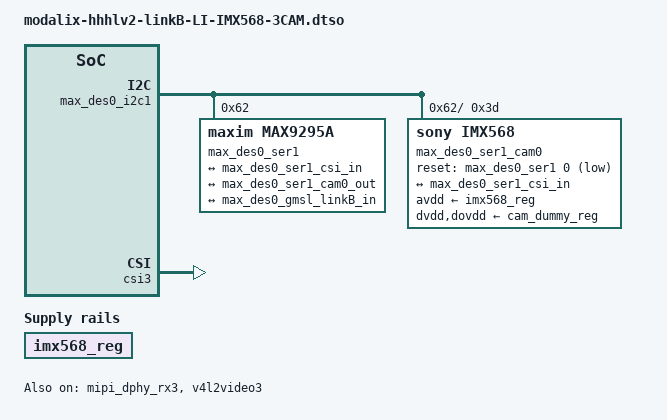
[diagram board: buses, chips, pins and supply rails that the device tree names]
// SPDX-License-Identifier: (GPL-2.0+ OR MIT)
/*
 * Copyright (c) 2026 SiMa ai
 */

/dts-v1/;
/plugin/;

#include "modalix-gmsl.dtsi"

&{/} {
    imx568_clk: imx568_clk {
        status = "okay";
        compatible = "fixed-clock";
        #clock-cells = <0>;
        clock-frequency = <25000000>;
    };
    imx568_reg: imx568_reg {
        status = "okay";
        enable-active-high;
        regulator-name = "imx568_reg";
        startup-delay-us = <20000>;
        compatible = "regulator-fixed";
    };
};

&max_des0_i2c1 {
    max_des0_ser1: gmsl-serializer@62 {
        #address-cells = <1>;
        #size-cells = <0>;
        #gpio-cells = <2>;

        compatible = "maxim,max9295a";
        reg = <0x62>;

        gpio-controller;
        gpio-ranges = <&max_des0_ser1 0 0 11>;

        i2c-alias-pool = <0x48 0x49>;
        i2c-atr {
            #address-cells = <1>;
            #size-cells = <0>;

            max_des0_ser1_i2c0: i2c@0 {
                #address-cells = <1>;
                #size-cells = <0>;
                reg = <0x0>;
            };
        };

        ports {
            #address-cells = <1>;
            #size-cells = <0>;

            port@0 {
                reg = <0>;
                max_des0_ser1_csi_in: endpoint@0 {
                    reg = <0>;
                };
            };
            port@1 {
                reg = <1>;
                max_des0_ser1_gmsl_out: endpoint@0 {
                    reg = <0>;
                };
            };
        };
    };
};

&max_des0_ser1_i2c0 {
    max_des0_ser1_cam0: imx568@3d {
        compatible = "sony,imx568";
        reg = <0x3d>;
        reset-gpios = <&max_des0_ser1 0 1>;

        clocks = <&imx568_clk>;
        clock-names = "inck";

        avdd-supply = <&imx568_reg>;
        dvdd-supply = <&cam_dummy_reg>;
        dovdd-supply = <&cam_dummy_reg>;

        rotation = <0>;
        orientation = <2>;

        port@0 {
            reg = <0>;
            max_des0_ser1_cam0_out: endpoint@0 {
                reg = <0>;
                clock-lanes = <0>;
                data-lanes = <1 2>;
                link-frequencies = /bits/ 64 <594000000>;
                remote-endpoint = <&max_des0_ser1_csi_in>;
                clock-continuous;
            };
        };
    };
};

&max_des0_ser1_csi_in {
    clock-lanes = <0>;
    data-lanes = <1 2>;
    link-frequencies = /bits/ 64 <594000000>;
    remote-endpoint = <&max_des0_ser1_cam0_out>;
    clock-continuous;
};

&max_des0_ser1_gmsl_out {
    remote-endpoint = <&max_des0_gmsl_linkB_in>;
};

&max_des0_gmsl_linkB_in {
    remote-endpoint = <&max_des0_ser1_gmsl_out>;
};

&max_des0_portB_out {
    clock-lanes = <0>;
    data-lanes = <1 2>;
    link-frequencies = /bits/ 64 <594000000>;
    remote-endpoint = <&csi30in>;
    clock-continuous;
};

&csi30in{
    clock-lanes = <0>;
    data-lanes = <1 2>;
    link-frequencies = /bits/ 64 <594000000>;
    remote-endpoint = <&max_des0_portB_out>;
    clock-continuous;
};

&csi3 {
    status = "okay";
};

&axi_vdma3 {
    status = "okay";
};

&mipi_dphy_rx3 {
    status = "okay";
};

&v4l2video3 {
    status = "okay";
};

&v4l2vdma3 {
    status = "okay";
};
